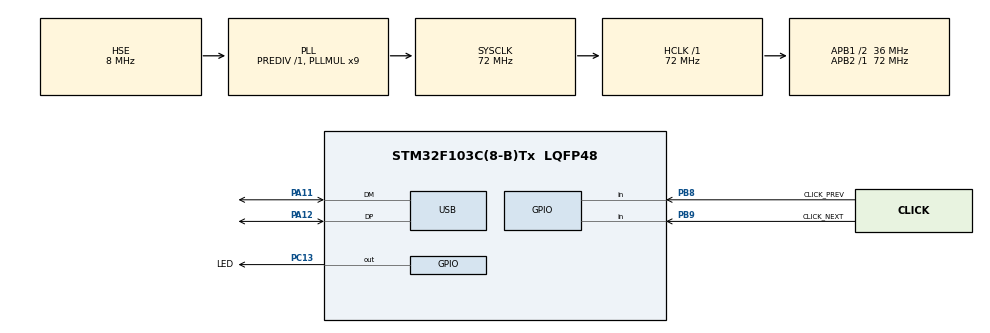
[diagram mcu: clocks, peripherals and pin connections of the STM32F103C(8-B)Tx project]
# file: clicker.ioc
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Mcu.Family=STM32F1
Mcu.Name=STM32F103C(8-B)Tx
Mcu.Package=LQFP48
NVIC.PriorityGroup=NVIC_PRIORITYGROUP_4
NVIC.USB_LP_CAN1_RX0_IRQn=true\:0\:0\:false\:false\:true
PA11.Mode=Device
PA11.Signal=USB_DM
PA12.Mode=Device
PA12.Signal=USB_DP
PB8.GPIO_Label=CLICK_PREV
PB8.GPIO_PuPd=GPIO_PULLUP
PB8.Signal=GPIO_Input
PB9.GPIO_Label=CLICK_NEXT
PB9.GPIO_PuPd=GPIO_PULLUP
PB9.Signal=GPIO_Input
PC13-TAMPER-RTC.GPIO_Label=LED
PC13-TAMPER-RTC.GPIO_Speed=GPIO_SPEED_FREQ_MEDIUM
PC13-TAMPER-RTC.Signal=GPIO_Output
PD0-OSC_IN.Mode=HSE-External-Oscillator
PD0-OSC_IN.Signal=RCC_OSC_IN
PD1-OSC_OUT.Mode=HSE-External-Oscillator
PD1-OSC_OUT.Signal=RCC_OSC_OUT
ProjectManager.HeapSize=0x200
ProjectManager.StackSize=0x400
ProjectManager.TargetToolchain=Makefile
RCC.AHBFreq_Value=72000000
RCC.APB1CLKDivider=RCC_HCLK_DIV2
RCC.APB1Freq_Value=36000000
RCC.APB1TimFreq_Value=72000000
RCC.APB2Freq_Value=72000000
RCC.APB2TimFreq_Value=72000000
RCC.HCLKFreq_Value=72000000
RCC.PLLMUL=RCC_PLL_MUL9
RCC.SYSCLKFreq_VALUE=72000000
RCC.SYSCLKSource=RCC_SYSCLKSOURCE_PLLCLK
RCC.USBFreq_Value=48000000
RCC.USBPrescaler=RCC_USBCLKSOURCE_PLL_DIV1_5
USB_DEVICE.CLASS_NAME_FS=HID
USB_DEVICE.VirtualMode=Hid
USB_DEVICE.VirtualModeFS=Hid_FS
VP_USB_DEVICE_VS_USB_DEVICE_HID_FS.Mode=HID_FS
board=clicker

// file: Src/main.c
/**
  ******************************************************************************
  * File Name          : main.c
  * Description        : Main program body
  ******************************************************************************
  * This notice applies to any and all portions of this file
  * that are not between comment pairs USER CODE BEGIN and
  * USER CODE END. Other portions of this file, whether
  * inserted by the user or by software development tools
  * are owned by their respective copyright owners.
  *
  * Copyright (c) 2019 STMicroelectronics International N.V.
  * All rights reserved.
  *
  * Redistribution and use in source and binary forms, with or without
  * modification, are permitted, provided that the following conditions are met:
  *
  * 1. Redistribution of source code must retain the above copyright notice,
  *    this list of conditions and the following disclaimer.
  * 2. Redistributions in binary form must reproduce the above copyright notice,
  *    this list of conditions and the following disclaimer in the documentation
  *    and/or other materials provided with the distribution.
  * 3. Neither the name of STMicroelectronics nor the names of other
  *    contributors to this software may be used to endorse or promote products
  *    derived from this software without specific written permission.
  * 4. This software, including modifications and/or derivative works of this
  *    software, must execute solely and exclusively on microcontroller or
  *    microprocessor devices manufactured by or for STMicroelectronics.
  * 5. Redistribution and use of this software other than as permitted under
  *    this license is void and will automatically terminate your rights under
  *    this license.
  *
  * THIS SOFTWARE IS PROVIDED BY STMICROELECTRONICS AND CONTRIBUTORS "AS IS"
  * AND ANY EXPRESS, IMPLIED OR STATUTORY WARRANTIES, INCLUDING, BUT NOT
  * LIMITED TO, THE IMPLIED WARRANTIES OF MERCHANTABILITY, FITNESS FOR A
  * PARTICULAR PURPOSE AND NON-INFRINGEMENT OF THIRD PARTY INTELLECTUAL PROPERTY
  * RIGHTS ARE DISCLAIMED TO THE FULLEST EXTENT PERMITTED BY LAW. IN NO EVENT
  * SHALL STMICROELECTRONICS OR CONTRIBUTORS BE LIABLE FOR ANY DIRECT, INDIRECT,
  * INCIDENTAL, SPECIAL, EXEMPLARY, OR CONSEQUENTIAL DAMAGES (INCLUDING, BUT NOT
  * LIMITED TO, PROCUREMENT OF SUBSTITUTE GOODS OR SERVICES; LOSS OF USE, DATA,
  * OR PROFITS; OR BUSINESS INTERRUPTION) HOWEVER CAUSED AND ON ANY THEORY OF
  * LIABILITY, WHETHER IN CONTRACT, STRICT LIABILITY, OR TORT (INCLUDING
  * NEGLIGENCE OR OTHERWISE) ARISING IN ANY WAY OUT OF THE USE OF THIS SOFTWARE,
  * EVEN IF ADVISED OF THE POSSIBILITY OF SUCH DAMAGE.
  *
  ******************************************************************************
  */
#include "main.h"
#include "stm32f1xx_hal.h"
#include "usb_device.h"

/* USER CODE BEGIN PV */
/* Private variables ---------------------------------------------------------*/

/* USER CODE END PV */

void SystemClock_Config(void);
static void MX_GPIO_Init(void);

/* USER CODE BEGIN PFP */
/* Private function prototypes -----------------------------------------------*/

/* USER CODE END PFP */

/* USER CODE BEGIN 0 */

#define CURSOR_STEP 10

static void GetPointerData(uint8_t* pbuf) {
  static uint8_t cnt=0;
  static uint8_t drct=0;
  int8_t x = 0, y = 0, but = 0;

  /*
  if((cnt<40)&&(drct==0)) {
    x=CURSOR_STEP;
    y=CURSOR_STEP;
    cnt++;
  } else if (cnt>0) {
    drct=1;
    x=-CURSOR_STEP;
    y=-CURSOR_STEP;
    cnt--;
  } else {
    drct=0;
  }
  */

  if(HAL_GPIO_ReadPin(CLICK_NEXT_GPIO_Port, CLICK_NEXT_Pin) == GPIO_PIN_RESET) {
    pbuf[2] = 0x4f; // right arrow
    // pbuf[2] = 0x50; // left arrow
    HAL_GPIO_WritePin(LED_GPIO_Port, LED_Pin, GPIO_PIN_SET);
  } else if (HAL_GPIO_ReadPin(CLICK_PREV_GPIO_Port, CLICK_PREV_Pin) == GPIO_PIN_RESET) {
    pbuf[2] = 0x50; // left arrow
    HAL_GPIO_WritePin(LED_GPIO_Port, LED_Pin, GPIO_PIN_SET);
  } else {
    pbuf[2] = 0;
    HAL_GPIO_WritePin(LED_GPIO_Port, LED_Pin, GPIO_PIN_RESET);
  }

  /*
  pbuf[0]=but;
  pbuf[1]=x;
  pbuf[2]=y;
  pbuf[3]=0;
  */
}

/* USER CODE END 0 */

int main(void)
{

  /* MCU Configuration----------------------------------------------------------*/

  /* Reset of all peripherals, Initializes the Flash interface and the Systick. */
  HAL_Init();

  /* Configure the system clock */
  SystemClock_Config();

  /* Initialize all configured peripherals */
  MX_GPIO_Init();
  MX_USB_DEVICE_Init();

  /* Infinite loop */
  /* USER CODE BEGIN WHILE */

  uint8_t HID_Buffer[8];

  while (1)
  {
  /* USER CODE END WHILE */

  /* USER CODE BEGIN 3 */
    HAL_Delay(100);
    // HAL_GPIO_TogglePin(LED_GPIO_Port, LED_Pin);

    GetPointerData(HID_Buffer);
    USBD_HID_SendReport(&hUsbDeviceFS, HID_Buffer, 8);

  }
  /* USER CODE END 3 */

}

/** System Clock Configuration
*/
void SystemClock_Config(void)
{

  RCC_OscInitTypeDef RCC_OscInitStruct;
  RCC_ClkInitTypeDef RCC_ClkInitStruct;
  RCC_PeriphCLKInitTypeDef PeriphClkInit;

    /**Initializes the CPU, AHB and APB busses clocks
    */
  RCC_OscInitStruct.OscillatorType = RCC_OSCILLATORTYPE_HSE;
  RCC_OscInitStruct.HSEState = RCC_HSE_ON;
  RCC_OscInitStruct.HSEPredivValue = RCC_HSE_PREDIV_DIV1;
  RCC_OscInitStruct.HSIState = RCC_HSI_ON;
  RCC_OscInitStruct.PLL.PLLState = RCC_PLL_ON;
  RCC_OscInitStruct.PLL.PLLSource = RCC_PLLSOURCE_HSE;
  RCC_OscInitStruct.PLL.PLLMUL = RCC_PLL_MUL9;
  if (HAL_RCC_OscConfig(&RCC_OscInitStruct) != HAL_OK)
  {
    _Error_Handler(__FILE__, __LINE__);
  }

    /**Initializes the CPU, AHB and APB busses clocks
    */
  RCC_ClkInitStruct.ClockType = RCC_CLOCKTYPE_HCLK|RCC_CLOCKTYPE_SYSCLK
                              |RCC_CLOCKTYPE_PCLK1|RCC_CLOCKTYPE_PCLK2;
  RCC_ClkInitStruct.SYSCLKSource = RCC_SYSCLKSOURCE_PLLCLK;
  RCC_ClkInitStruct.AHBCLKDivider = RCC_SYSCLK_DIV1;
  RCC_ClkInitStruct.APB1CLKDivider = RCC_HCLK_DIV2;
  RCC_ClkInitStruct.APB2CLKDivider = RCC_HCLK_DIV1;

  if (HAL_RCC_ClockConfig(&RCC_ClkInitStruct, FLASH_LATENCY_2) != HAL_OK)
  {
    _Error_Handler(__FILE__, __LINE__);
  }

  PeriphClkInit.PeriphClockSelection = RCC_PERIPHCLK_USB;
  PeriphClkInit.UsbClockSelection = RCC_USBCLKSOURCE_PLL_DIV1_5;
  if (HAL_RCCEx_PeriphCLKConfig(&PeriphClkInit) != HAL_OK)
  {
    _Error_Handler(__FILE__, __LINE__);
  }

    /**Configure the Systick interrupt time
    */
  HAL_SYSTICK_Config(HAL_RCC_GetHCLKFreq()/1000);

    /**Configure the Systick
    */
  HAL_SYSTICK_CLKSourceConfig(SYSTICK_CLKSOURCE_HCLK);

  /* SysTick_IRQn interrupt configuration */
  HAL_NVIC_SetPriority(SysTick_IRQn, 0, 0);
}

/** Configure pins as
        * Analog
        * Input
        * Output
        * EVENT_OUT
        * EXTI
*/
static void MX_GPIO_Init(void)
{

  GPIO_InitTypeDef GPIO_InitStruct;

  /* GPIO Ports Clock Enable */
  __HAL_RCC_GPIOC_CLK_ENABLE();
  __HAL_RCC_GPIOD_CLK_ENABLE();
  __HAL_RCC_GPIOA_CLK_ENABLE();
  __HAL_RCC_GPIOB_CLK_ENABLE();

  /*Configure GPIO pin Output Level */
  HAL_GPIO_WritePin(LED_GPIO_Port, LED_Pin, GPIO_PIN_RESET);

  /*Configure GPIO pin : LED_Pin */
  GPIO_InitStruct.Pin = LED_Pin;
  GPIO_InitStruct.Mode = GPIO_MODE_OUTPUT_PP;
  GPIO_InitStruct.Speed = GPIO_SPEED_FREQ_MEDIUM;
  HAL_GPIO_Init(LED_GPIO_Port, &GPIO_InitStruct);

  /*Configure GPIO pins : CLICK_PREV_Pin CLICK_NEXT_Pin */
  GPIO_InitStruct.Pin = CLICK_PREV_Pin|CLICK_NEXT_Pin;
  GPIO_InitStruct.Mode = GPIO_MODE_INPUT;
  GPIO_InitStruct.Pull = GPIO_PULLUP;
  HAL_GPIO_Init(GPIOB, &GPIO_InitStruct);

}

void _Error_Handler(char * file, int line)
{
  while(1)
  {
  }
}

/************************ (C) COPYRIGHT STMicroelectronics *****END OF FILE****/
